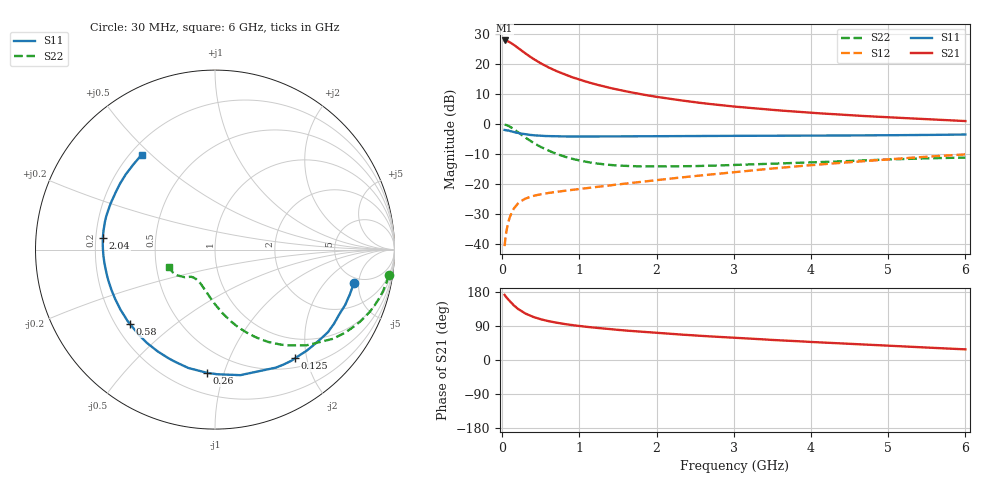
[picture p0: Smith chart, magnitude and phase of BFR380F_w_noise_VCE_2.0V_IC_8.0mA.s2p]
! Infineon Technologies  Discrete & RF Semiconductors
! BFR380F
! VCE =  2.0 V,  IC =  8.0 mA
! Common Emitter S-Parameters:  Nov 2015
# GHz  S  MA  R  50
!  f  S11  S21  S12  S22
! GHz  MAG  ANG  MAG  ANG  MAG  ANG  MAG  ANG
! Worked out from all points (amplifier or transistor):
!   206 points, 30 MHz to 6 GHz, reference 50 ohm
!   highest |S21| = 27.9 dB at 30 MHz (marker M1)
!   |S21| within 3 dB of that: start of sweep to 230 MHz
!   unconditionally stable (mu >= 1): 1.897 GHz to 5.25 GHz
!   at 200 MHz: K = 0.19, MSG = 26.1 dB, |S12| = -26.7 dB
!   at 1.56 GHz: K = 0.93, MSG = 15.6 dB, |S12| = -20.0 dB
!   at 6 GHz: K = 0.98, MSG = 5.6 dB, |S12| = -10.2 dB
!   lowest NFmin = 0.82 dB at 450 MHz
!   S11 on the Smith chart (normalised r, x): 30 MHz: 4.22, -4.33; 125 MHz: 0.65, -1.80; 260 MHz: 0.34, -0.88; 580 MHz: 0.26, -0.35; 2.04 GHz: 0.23, +0.05; 6 GHz: 0.24, +0.47
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0.03  0.7958 -13.7  24.91 171.8  0.0091 83.6  0.9785 -8.4
0.05  0.7881 -23.0  24.76 166.1  0.0151 79.3  0.9645 -13.9
0.07  0.7811 -31.8  24.19 161.2  0.0207 75.6  0.9427 -19.1
0.1  0.7647 -44.1  23.13 154.3  0.0284 69.3  0.9013 -26.6
0.125  0.7521 -53.6  22.07 149.0  0.0338 65.2  0.8615 -32.2
0.15  0.7399 -62.7  21.05 144.0  0.0387 61.5  0.8205 -37.4
0.2  0.7136 -78.6  18.86 135.3  0.0465 55.3  0.7368 -46.4
0.26  0.688 -93.7  16.52 127.3  0.0532 50.0  0.6469 -55.0
0.32  0.6684 -106.2  14.51 120.8  0.058 46.3  0.5702 -62.1
0.4  0.651 -119.3  12.35 113.8  0.0628 43.1  0.4886 -69.7
0.5  0.6372 -131.5  10.32 107.4  0.0671 41.1  0.4129 -77.1
0.58  0.6294 -138.8  9.116 103.5  0.0698 40.5  0.3688 -81.8
0.7  0.6239 -147.7  7.685 98.5  0.0734 40.4  0.3175 -88.2
0.8  0.6207 -153.5  6.8 95.1  0.0763 40.9  0.2869 -92.7
1.04  0.6185 -163.7  5.322 88.7  0.0833 43.1  0.2401 -101.6
1.4  0.621 -174.1  3.997 81.2  0.0944 46.9  0.207 -112.4
2.02  0.6284 174.2  2.821 71.2  0.1165 52.3  0.1954 -123.9
2.04  0.6285 173.9  2.797 71.0  0.1172 52.5  0.1954 -124.1
3.1  0.6339 160.5  1.911 57.7  0.1617 57.5  0.209 -133.4
4.1  0.6397 149.1  1.513 46.7  0.2104 58.2  0.2305 -138.4
5.1  0.6513 138.5  1.277 36.8  0.2622 56.7  0.2582 -147.4
6  0.6681 127.7  1.121 28.1  0.3107 53.2  0.2755 -160.0
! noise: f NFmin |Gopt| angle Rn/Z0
0.45  0.82  0.13  62  0.11
0.9  0.83  0.2  115  0.09
1.8  1.14  0.34  160  0.08
1.9  1.23  0.35  162  0.07
2.4  1.38  0.38  177  0.08
3.5  2.04  0.48  -161  0.11
